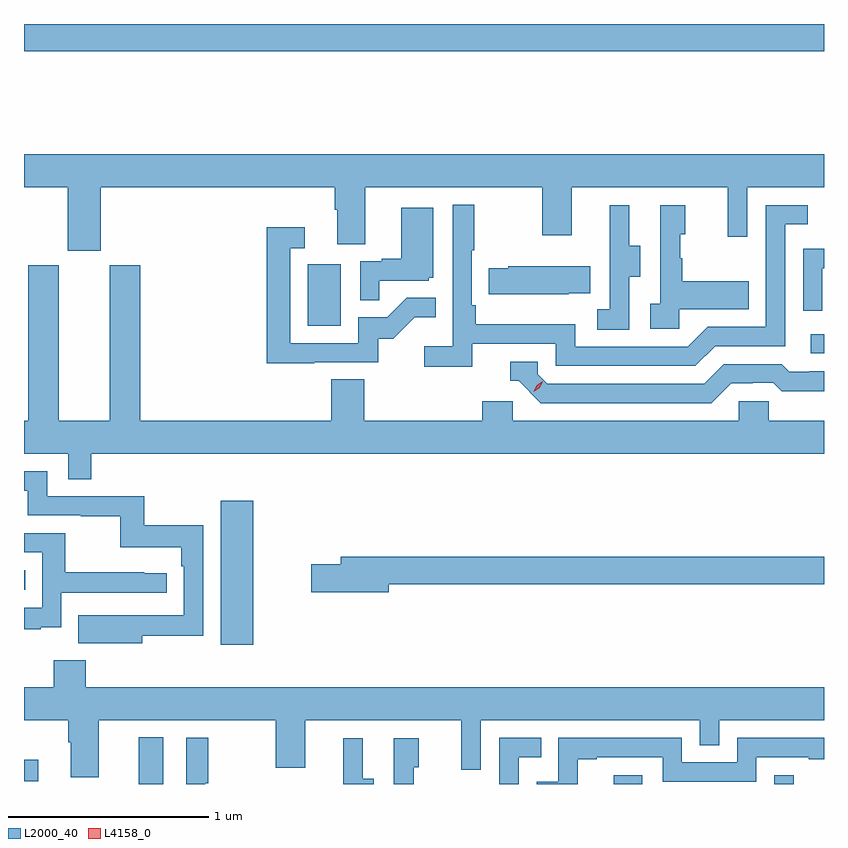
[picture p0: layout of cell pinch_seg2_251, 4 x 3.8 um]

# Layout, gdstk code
import gdstk
lib = gdstk.Library(unit=1e-6, precision=1e-09)
def R(c, l, rs):  # rectangles x0, y0, x1, y1
    for r in rs: c.add(gdstk.rectangle(r[:2], r[2:], *l))
def P(c, l, *ps):  # polygons
    for p in ps: c.add(gdstk.Polygon(p, *l))
L2000_40 = (2000, 40)
L4158_0 = (4158, 0)

pinch_seg2_251 = lib.new_cell('pinch_seg2_251')
R(pinch_seg2_251, L2000_40, [(940.586,661.968,940.708,662.203), (942.961,661.968,943.105,662.011), (943.764,661.968,943.861,662.011), (940.013,661.983,940.084,662.089), (940.997,662.664,941.158,663.385), (940.013,662.94,940.019,663.036), (943.947,664.122,944.013,664.218), (941.432,664.26,941.596,664.567), (940.013,665.632,944.013,665.768)])
P(pinch_seg2_251, L2000_40, [(940.396,664.952),(941.567,664.952),(941.567,664.84),(941.579,664.84),(941.579,664.666),(941.719,664.666),(941.719,664.952),(942.604,664.952),(942.604,664.713),(942.751,664.713),(942.751,664.952),(943.532,664.952),(943.532,664.704),(943.629,664.704),(943.629,664.952),(944.013,664.952),(944.013,665.116),(940.013,665.116),(940.013,664.952),(940.232,664.952),(940.232,664.635),(940.396,664.635)],
  [(942.254,664.17),(942.672,664.17),(942.672,664.059),(943.369,664.059),(943.468,664.158),(943.818,664.158),(943.818,664.767),(943.931,664.767),(943.931,664.863),(943.722,664.863),(943.722,664.254),(943.431,664.254),(943.332,664.155),(942.768,664.155),(942.768,664.267),(942.272,664.267),(942.272,664.363),(942.252,664.363),(942.252,664.636),(942.265,664.636),(942.265,664.864),(942.156,664.864),(942.156,664.156),(942.015,664.156),(942.015,664.054),(942.254,664.054)],
  [(943.038,664.504),(943.093,664.504),(943.093,664.659),(943.039,664.659),(943.039,664.861),(942.941,664.861),(942.941,664.647),(942.942,664.647),(942.942,664.343),(942.879,664.343),(942.879,664.24),(943.038,664.24)],
  [(943.29,664.343),(943.637,664.343),(943.637,664.483),(943.303,664.483),(943.303,664.598),(943.293,664.598),(943.293,664.716),(943.318,664.716),(943.318,664.861),(943.194,664.861),(943.194,664.37),(943.143,664.37),(943.143,664.245),(943.29,664.245)],
  [(941.789,664.485),(942.036,664.485),(942.036,664.5),(942.058,664.5),(942.058,664.849),(941.9,664.849),(941.9,664.594),(941.801,664.594),(941.801,664.581),(941.694,664.581),(941.694,664.387),(941.789,664.387)],
  [(941.465,664.077),(941.784,664.077),(941.784,664.194),(941.86,664.194),(941.967,664.301),(942.071,664.301),(942.071,664.4),(941.927,664.4),(941.829,664.302),(941.685,664.302),(941.685,664.173),(941.343,664.173),(941.343,664.647),(941.416,664.647),(941.416,664.753),(941.227,664.753),(941.227,664.072),(941.465,664.072)],
  [(944.004,664.547),(944.013,664.547),(944.013,664.644),(943.908,664.644),(943.908,664.335),(944.004,664.335)],
  [(944.013,663.784),(943.737,663.784),(943.737,663.882),(943.587,663.882),(943.587,663.784),(942.456,663.784),(942.456,663.882),(942.305,663.882),(942.305,663.784),(941.714,663.784),(941.714,663.992),(941.549,663.992),(941.549,663.784),(940.595,663.784),(940.595,664.563),(940.442,664.563),(940.442,663.784),(940.186,663.784),(940.186,664.563),(940.034,664.563),(940.034,663.784),(940.013,663.784),(940.013,663.62),(940.233,663.62),(940.233,663.493),(940.349,663.493),(940.349,663.62),(944.013,663.62)],
  [(942.737,664.421),(942.845,664.421),(942.845,664.558),(942.435,664.558),(942.435,664.548),(942.337,664.548),(942.337,664.418),(942.737,664.418)],
  [(943.549,663.972),(943.656,663.972),(943.656,663.975),(943.759,663.975),(943.801,663.933),(944.013,663.933),(944.013,664.032),(943.939,664.032),(943.939,664.029),(943.84,664.029),(943.801,664.068),(943.512,664.068),(943.413,663.969),(942.63,663.969),(942.582,664.017),(942.582,664.08),(942.443,664.08),(942.443,663.984),(942.486,663.984),(942.597,663.873),(943.45,663.873)],
  [(940.603,662.71),(940.908,662.71),(940.908,663.262),(940.615,663.262),(940.615,663.408),(940.128,663.408),(940.128,663.531),(940.013,663.531),(940.013,663.435),(940.032,663.435),(940.032,663.312),(940.297,663.312),(940.297,663.307),(940.494,663.307),(940.494,663.152),(940.799,663.152),(940.799,663.056),(940.812,663.056),(940.812,662.811),(940.499,662.811),(940.499,662.812),(940.285,662.812),(940.285,662.672),(940.603,662.672)],
  [(940.097,662.753),(940.2,662.753),(940.2,662.925),(940.726,662.925),(940.726,663.021),(940.613,663.021),(940.613,663.026),(940.22,663.026),(940.22,663.222),(940.013,663.222),(940.013,663.126),(940.104,663.126),(940.104,662.85),(940.013,662.85),(940.013,662.742),(940.097,662.742)],
  [(941.836,662.968),(944.013,662.968),(944.013,663.104),(941.597,663.104),(941.597,663.068),(941.448,663.068),(941.448,662.926),(941.836,662.926)],
  [(940.387,662.288),(941.272,662.288),(941.272,662.049),(941.419,662.049),(941.419,662.288),(942.2,662.288),(942.2,662.04),(942.297,662.04),(942.297,662.288),(943.392,662.288),(943.392,662.161),(943.488,662.161),(943.488,662.288),(944.013,662.288),(944.013,662.452),(940.322,662.452),(940.322,662.587),(940.162,662.587),(940.162,662.452),(940.013,662.452),(940.013,662.288),(940.235,662.288),(940.235,662.176),(940.247,662.176),(940.247,662.002),(940.387,662.002)],
  [(940.92,661.972),(940.933,661.972),(940.933,662.2),(940.824,662.2),(940.824,661.968),(940.92,661.968)],
  [(942.486,662.103),(942.599,662.103),(942.599,662.199),(942.39,662.199),(942.39,661.968),(942.486,661.968)],
  [(942.782,662.091),(942.877,662.091),(942.877,662.103),(943.206,662.103),(943.206,661.98),(943.674,661.98),(943.674,662.103),(943.937,662.103),(943.937,662.091),(944.013,662.091),(944.013,662.199),(943.578,662.199),(943.578,662.076),(943.302,662.076),(943.302,662.199),(942.684,662.199),(942.684,661.98),(942.576,661.98),(942.576,661.968),(942.782,661.968)],
  [(941.961,662.052),(941.986,662.052),(941.986,662.197),(941.862,662.197),(941.862,661.968),(941.961,661.968)],
  [(941.761,661.995),(941.707,661.995),(941.707,662.197),(941.609,662.197),(941.609,661.983),(941.61,661.983),(941.61,661.968),(941.761,661.968)])
P(pinch_seg2_251, L4158_0, [(942.561,663.929),(942.561,663.93),(942.576,663.962),(942.606,663.982),(942.606,663.982),(942.606,663.982),(942.591,663.949),(942.561,663.929)])

lib.write_gds('pinch_seg2_251.gds')
